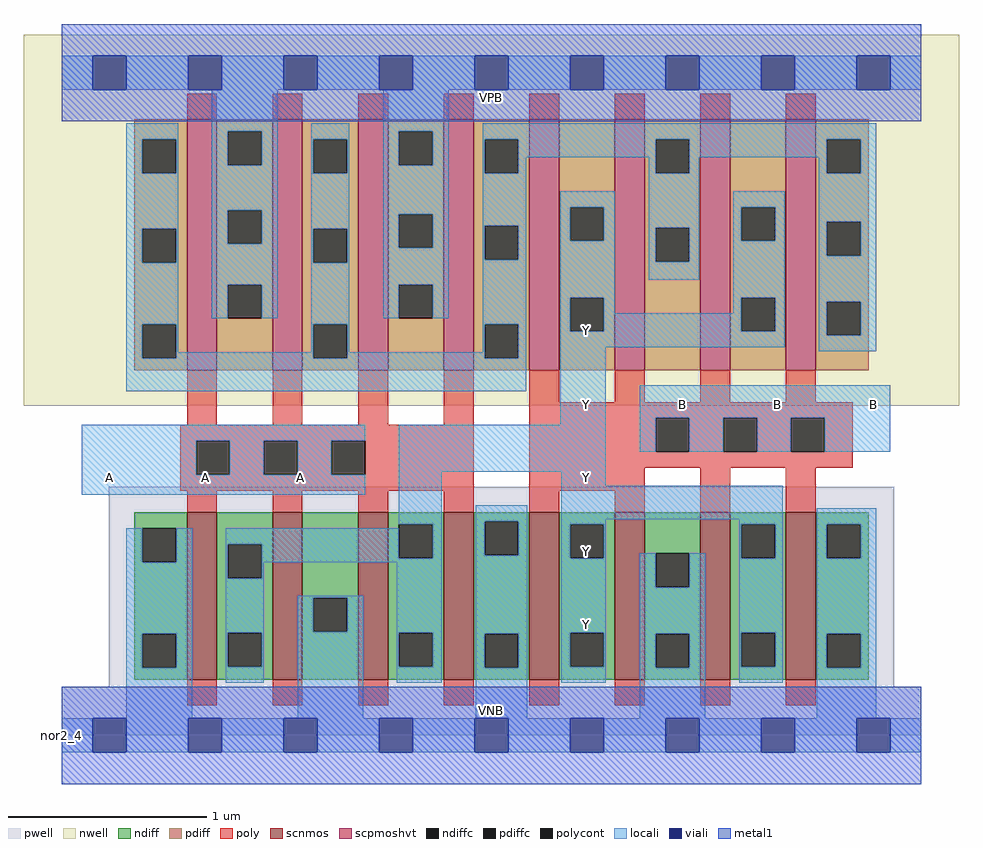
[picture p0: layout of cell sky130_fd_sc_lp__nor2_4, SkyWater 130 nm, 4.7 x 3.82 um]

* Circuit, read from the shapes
.subckt sky130_fd_sc_lp__nor2_4 A B VGND VNB VPB VPWR Y
XM1 Y A VGND VNB sky130_fd_pr__nfet_01v8 w=0.84 l=0.15 m=4
XM2 Y B VGND VNB sky130_fd_pr__nfet_01v8 w=0.84 l=0.15 m=4
XM3 VPWR A n1 VPB sky130_fd_pr__pfet_01v8_hvt w=1.26 l=0.15 m=4
XM4 Y B n1 VPB sky130_fd_pr__pfet_01v8_hvt w=1.26 l=0.15 m=4
.ends

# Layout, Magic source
magic
tech sky130A
magscale 1 2
<< nwell >>
rect -38 331 902 704
<< pwell >>
rect 47 49 837 250
rect 0 0 864 49
<< scnmos >>
rect 126 56 156 224
rect 212 56 242 224
rect 298 56 328 224
rect 384 56 414 224
rect 470 56 500 224
rect 556 56 586 224
rect 642 56 672 224
rect 728 56 758 224
<< scpmoshvt >>
rect 126 367 156 619
rect 212 367 242 619
rect 298 367 328 619
rect 384 367 414 619
rect 470 367 500 619
rect 556 367 586 619
rect 642 367 672 619
rect 728 367 758 619
<< ndiff >>
rect 73 208 126 224
rect 73 174 81 208
rect 115 174 126 208
rect 73 102 126 174
rect 73 68 81 102
rect 115 68 126 102
rect 73 56 126 68
rect 156 192 212 224
rect 156 158 167 192
rect 201 158 212 192
rect 156 103 212 158
rect 156 69 167 103
rect 201 69 212 103
rect 156 56 212 69
rect 242 138 298 224
rect 242 104 253 138
rect 287 104 298 138
rect 242 56 298 104
rect 328 212 384 224
rect 328 178 339 212
rect 373 178 384 212
rect 328 103 384 178
rect 328 69 339 103
rect 373 69 384 103
rect 328 56 384 69
rect 414 215 470 224
rect 414 181 425 215
rect 459 181 470 215
rect 414 102 470 181
rect 414 68 425 102
rect 459 68 470 102
rect 414 56 470 68
rect 500 212 556 224
rect 500 178 511 212
rect 545 178 556 212
rect 500 103 556 178
rect 500 69 511 103
rect 545 69 556 103
rect 500 56 556 69
rect 586 183 642 224
rect 586 149 597 183
rect 631 149 642 183
rect 586 102 642 149
rect 586 68 597 102
rect 631 68 642 102
rect 586 56 642 68
rect 672 212 728 224
rect 672 178 683 212
rect 717 178 728 212
rect 672 103 728 178
rect 672 69 683 103
rect 717 69 728 103
rect 672 56 728 69
rect 758 212 811 224
rect 758 178 769 212
rect 803 178 811 212
rect 758 102 811 178
rect 758 68 769 102
rect 803 68 811 102
rect 758 56 811 68
<< pdiff >>
rect 73 599 126 619
rect 73 565 81 599
rect 115 565 126 599
rect 73 509 126 565
rect 73 475 81 509
rect 115 475 126 509
rect 73 413 126 475
rect 73 379 81 413
rect 115 379 126 413
rect 73 367 126 379
rect 156 607 212 619
rect 156 573 167 607
rect 201 573 212 607
rect 156 528 212 573
rect 156 494 167 528
rect 201 494 212 528
rect 156 453 212 494
rect 156 419 167 453
rect 201 419 212 453
rect 156 367 212 419
rect 242 599 298 619
rect 242 565 253 599
rect 287 565 298 599
rect 242 509 298 565
rect 242 475 253 509
rect 287 475 298 509
rect 242 413 298 475
rect 242 379 253 413
rect 287 379 298 413
rect 242 367 298 379
rect 328 607 384 619
rect 328 573 339 607
rect 373 573 384 607
rect 328 524 384 573
rect 328 490 339 524
rect 373 490 384 524
rect 328 453 384 490
rect 328 419 339 453
rect 373 419 384 453
rect 328 367 384 419
rect 414 599 470 619
rect 414 565 425 599
rect 459 565 470 599
rect 414 512 470 565
rect 414 478 425 512
rect 459 478 470 512
rect 414 413 470 478
rect 414 379 425 413
rect 459 379 470 413
rect 414 367 470 379
rect 500 531 556 619
rect 500 497 511 531
rect 545 497 556 531
rect 500 440 556 497
rect 500 406 511 440
rect 545 406 556 440
rect 500 367 556 406
rect 586 599 642 619
rect 586 565 597 599
rect 631 565 642 599
rect 586 510 642 565
rect 586 476 597 510
rect 631 476 642 510
rect 586 367 642 476
rect 672 531 728 619
rect 672 497 683 531
rect 717 497 728 531
rect 672 440 728 497
rect 672 406 683 440
rect 717 406 728 440
rect 672 367 728 406
rect 758 599 811 619
rect 758 565 769 599
rect 803 565 811 599
rect 758 516 811 565
rect 758 482 769 516
rect 803 482 811 516
rect 758 436 811 482
rect 758 402 769 436
rect 803 402 811 436
rect 758 367 811 402
<< ndiffc >>
rect 81 174 115 208
rect 81 68 115 102
rect 167 158 201 192
rect 167 69 201 103
rect 253 104 287 138
rect 339 178 373 212
rect 339 69 373 103
rect 425 181 459 215
rect 425 68 459 102
rect 511 178 545 212
rect 511 69 545 103
rect 597 149 631 183
rect 597 68 631 102
rect 683 178 717 212
rect 683 69 717 103
rect 769 178 803 212
rect 769 68 803 102
<< pdiffc >>
rect 81 565 115 599
rect 81 475 115 509
rect 81 379 115 413
rect 167 573 201 607
rect 167 494 201 528
rect 167 419 201 453
rect 253 565 287 599
rect 253 475 287 509
rect 253 379 287 413
rect 339 573 373 607
rect 339 490 373 524
rect 339 419 373 453
rect 425 565 459 599
rect 425 478 459 512
rect 425 379 459 413
rect 511 497 545 531
rect 511 406 545 440
rect 597 565 631 599
rect 597 476 631 510
rect 683 497 717 531
rect 683 406 717 440
rect 769 565 803 599
rect 769 482 803 516
rect 769 402 803 436
<< poly >>
rect 126 619 156 645
rect 212 619 242 645
rect 298 619 328 645
rect 384 619 414 645
rect 470 619 500 645
rect 556 619 586 645
rect 642 619 672 645
rect 728 619 758 645
rect 126 312 156 367
rect 212 312 242 367
rect 298 312 328 367
rect 384 312 414 367
rect 119 296 414 312
rect 119 262 135 296
rect 169 262 203 296
rect 237 262 271 296
rect 305 262 414 296
rect 119 246 414 262
rect 126 224 156 246
rect 212 224 242 246
rect 298 224 328 246
rect 384 224 414 246
rect 470 335 500 367
rect 556 335 586 367
rect 642 335 672 367
rect 728 335 758 367
rect 470 319 795 335
rect 470 285 597 319
rect 631 285 665 319
rect 699 285 733 319
rect 767 285 795 319
rect 470 269 795 285
rect 470 246 586 269
rect 470 224 500 246
rect 556 224 586 246
rect 642 224 672 269
rect 728 224 758 269
rect 126 30 156 56
rect 212 30 242 56
rect 298 30 328 56
rect 384 30 414 56
rect 470 30 500 56
rect 556 30 586 56
rect 642 30 672 56
rect 728 30 758 56
<< polycont >>
rect 135 262 169 296
rect 203 262 237 296
rect 271 262 305 296
rect 597 285 631 319
rect 665 285 699 319
rect 733 285 767 319
<< locali >>
rect 0 649 31 683
rect 65 649 127 683
rect 161 649 223 683
rect 257 649 319 683
rect 353 649 415 683
rect 449 649 511 683
rect 545 649 607 683
rect 641 649 703 683
rect 737 649 799 683
rect 833 649 864 683
rect 65 599 117 615
rect 65 565 81 599
rect 115 565 117 599
rect 65 509 117 565
rect 65 475 81 509
rect 115 475 117 509
rect 65 413 117 475
rect 151 607 217 649
rect 151 573 167 607
rect 201 573 217 607
rect 151 528 217 573
rect 151 494 167 528
rect 201 494 217 528
rect 151 453 217 494
rect 151 419 167 453
rect 201 419 217 453
rect 251 599 289 615
rect 251 565 253 599
rect 287 565 289 599
rect 251 509 289 565
rect 251 475 253 509
rect 287 475 289 509
rect 65 379 81 413
rect 115 385 117 413
rect 251 413 289 475
rect 323 607 389 649
rect 323 573 339 607
rect 373 573 389 607
rect 323 524 389 573
rect 323 490 339 524
rect 373 490 389 524
rect 323 453 389 490
rect 323 419 339 453
rect 373 419 389 453
rect 423 599 819 615
rect 423 565 425 599
rect 459 581 597 599
rect 459 565 467 581
rect 423 512 467 565
rect 590 565 597 581
rect 631 581 769 599
rect 631 565 641 581
rect 423 478 425 512
rect 459 478 467 512
rect 251 385 253 413
rect 115 379 253 385
rect 287 385 289 413
rect 423 413 467 478
rect 423 385 425 413
rect 287 379 425 385
rect 459 379 467 413
rect 65 346 467 379
rect 501 531 556 547
rect 501 497 511 531
rect 545 497 556 531
rect 501 440 556 497
rect 590 510 641 565
rect 761 565 769 581
rect 803 565 819 599
rect 590 476 597 510
rect 631 476 641 510
rect 590 458 641 476
rect 675 531 727 547
rect 675 497 683 531
rect 717 497 727 531
rect 501 406 511 440
rect 545 424 556 440
rect 675 440 727 497
rect 675 424 683 440
rect 545 406 683 424
rect 717 406 727 440
rect 501 390 727 406
rect 761 516 819 565
rect 761 482 769 516
rect 803 482 819 516
rect 761 436 819 482
rect 761 402 769 436
rect 803 402 819 436
rect 501 312 547 390
rect 761 386 819 402
rect 20 296 305 312
rect 20 262 135 296
rect 169 262 203 296
rect 237 262 271 296
rect 20 242 305 262
rect 339 265 547 312
rect 581 319 833 352
rect 581 285 597 319
rect 631 285 665 319
rect 699 285 733 319
rect 767 285 833 319
rect 339 212 382 265
rect 502 251 547 265
rect 65 174 81 208
rect 115 174 131 208
rect 65 102 131 174
rect 65 68 81 102
rect 115 68 131 102
rect 65 17 131 68
rect 165 192 339 208
rect 165 158 167 192
rect 201 178 339 192
rect 373 178 382 212
rect 201 174 382 178
rect 201 158 203 174
rect 165 103 203 158
rect 165 69 167 103
rect 201 69 203 103
rect 165 53 203 69
rect 237 138 303 140
rect 237 104 253 138
rect 287 104 303 138
rect 237 17 303 104
rect 337 103 382 174
rect 337 69 339 103
rect 373 69 382 103
rect 337 53 382 69
rect 416 215 468 231
rect 416 181 425 215
rect 459 181 468 215
rect 416 102 468 181
rect 416 68 425 102
rect 459 68 468 102
rect 416 17 468 68
rect 502 217 725 251
rect 502 212 547 217
rect 502 178 511 212
rect 545 178 547 212
rect 681 212 725 217
rect 502 103 547 178
rect 502 69 511 103
rect 545 69 547 103
rect 502 53 547 69
rect 581 149 597 183
rect 631 149 647 183
rect 581 102 647 149
rect 581 68 597 102
rect 631 68 647 102
rect 581 17 647 68
rect 681 178 683 212
rect 717 178 725 212
rect 681 103 725 178
rect 681 69 683 103
rect 717 69 725 103
rect 681 53 725 69
rect 759 212 819 228
rect 759 178 769 212
rect 803 178 819 212
rect 759 102 819 178
rect 759 68 769 102
rect 803 68 819 102
rect 759 17 819 68
rect 0 -17 31 17
rect 65 -17 127 17
rect 161 -17 223 17
rect 257 -17 319 17
rect 353 -17 415 17
rect 449 -17 511 17
rect 545 -17 607 17
rect 641 -17 703 17
rect 737 -17 799 17
rect 833 -17 864 17
<< viali >>
rect 31 649 65 683
rect 127 649 161 683
rect 223 649 257 683
rect 319 649 353 683
rect 415 649 449 683
rect 511 649 545 683
rect 607 649 641 683
rect 703 649 737 683
rect 799 649 833 683
rect 31 -17 65 17
rect 127 -17 161 17
rect 223 -17 257 17
rect 319 -17 353 17
rect 415 -17 449 17
rect 511 -17 545 17
rect 607 -17 641 17
rect 703 -17 737 17
rect 799 -17 833 17
<< metal1 >>
rect 0 683 864 715
rect 0 649 31 683
rect 65 649 127 683
rect 161 649 223 683
rect 257 649 319 683
rect 353 649 415 683
rect 449 649 511 683
rect 545 649 607 683
rect 641 649 703 683
rect 737 649 799 683
rect 833 649 864 683
rect 0 617 864 649
rect 0 17 864 49
rect 0 -17 31 17
rect 65 -17 127 17
rect 161 -17 223 17
rect 257 -17 319 17
rect 353 -17 415 17
rect 449 -17 511 17
rect 545 -17 607 17
rect 641 -17 703 17
rect 737 -17 799 17
rect 833 -17 864 17
rect 0 -49 864 -17
<< labels >>
flabel pwell s 0 0 864 49 0 FreeSans 200 0 0 0 VNB
port 4 nsew ground bidirectional
flabel nwell s 0 617 864 666 0 FreeSans 200 0 0 0 VPB
port 5 nsew power bidirectional
rlabel comment s 0 0 0 0 4 nor2_4
flabel metal1 s 0 617 864 666 0 FreeSans 340 0 0 0 VPWR
port 6 nsew power bidirectional
flabel metal1 s 0 0 864 49 0 FreeSans 340 0 0 0 VGND
port 3 nsew ground bidirectional
flabel locali s 511 94 545 128 0 FreeSans 340 0 0 0 Y
port 7 nsew signal output
flabel locali s 511 168 545 202 0 FreeSans 340 0 0 0 Y
port 7 nsew signal output
flabel locali s 511 242 545 276 0 FreeSans 340 0 0 0 Y
port 7 nsew signal output
flabel locali s 511 316 545 350 0 FreeSans 340 0 0 0 Y
port 7 nsew signal output
flabel locali s 511 390 545 424 0 FreeSans 340 0 0 0 Y
port 7 nsew signal output
flabel locali s 31 242 65 276 0 FreeSans 340 0 0 0 A
port 1 nsew signal input
flabel locali s 127 242 161 276 0 FreeSans 340 0 0 0 A
port 1 nsew signal input
flabel locali s 223 242 257 276 0 FreeSans 340 0 0 0 A
port 1 nsew signal input
flabel locali s 607 316 641 350 0 FreeSans 340 0 0 0 B
port 2 nsew signal input
flabel locali s 703 316 737 350 0 FreeSans 340 0 0 0 B
port 2 nsew signal input
flabel locali s 799 316 833 350 0 FreeSans 340 0 0 0 B
port 2 nsew signal input
<< properties >>
string LEFsite unit
string LEFclass CORE
string FIXED_BBOX 0 0 864 666
string GDS_FILE $PDKPATH/libs.ref/sky130_fd_sc_lp/gds/sky130_fd_sc_lp.gds
string LEFsymmetry X Y R90
string GDS_END 5321850
string GDS_START 5313444
<< end >>
